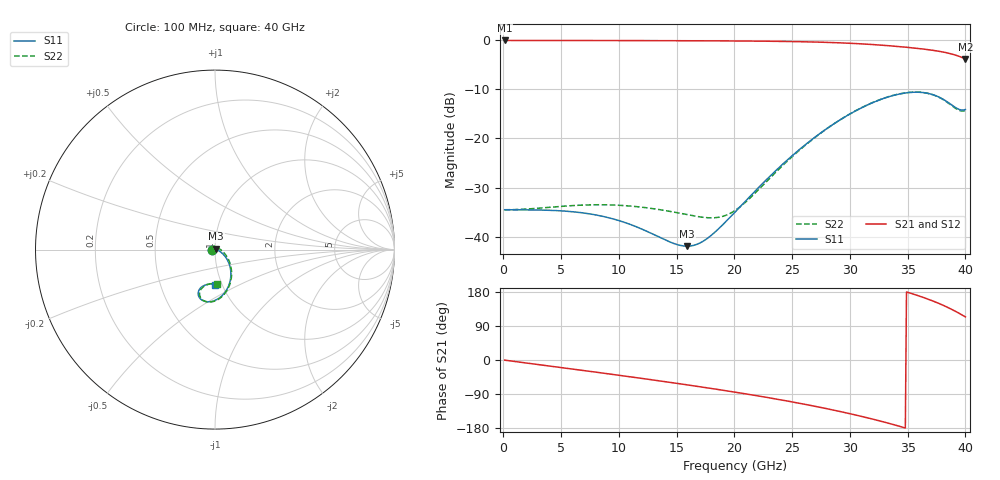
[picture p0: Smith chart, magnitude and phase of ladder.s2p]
! A_s4_d300_ap1000: via ladder as kisi uses it (kisi_si::via_pbm, graded grid, junction model), ports at the via
# Hz S RI R 50
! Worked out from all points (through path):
!   400 points, 100 MHz to 40 GHz, reference 50 ohm
!   highest |S21| = -0.17 dB at 100 MHz (marker M1); lowest = -3.9 dB at 40 GHz (marker M2)
!   group delay of S21, straight-line fit = 15.3 ps
!   lowest |S11| = -41.8 dB at 15.9 GHz (marker M3), VSWR 1.02, Z = 50.6 + j0.515 ohm
!   |S11| at or under -10 dB: start of sweep to end of sweep
!   |S22| runs from -36.1 to -10.6 dB; largest |S21 - S12| = 0
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1e8  -0.019 0.000313  0.981 -0.0068  0.981 -0.0068  -0.019 0.000309
3.4e9  -0.0162 0.00972  0.9535 -0.2293  0.9535 -0.2293  -0.0173 0.00983
6.8e9  -0.00932 0.0151  0.8718 -0.4474  0.8718 -0.4474  -0.0131 0.0167
1.01e10  -0.00217 0.0145  0.7423 -0.6378  0.7423 -0.6378  -0.00842 0.0193
1.34e10  0.00308 0.00969  0.5659 -0.7962  0.5659 -0.7962  -0.00397 0.0188
1.49e10  0.00499 0.00694  0.4713 -0.8544  0.4713 -0.8544  -0.00159 0.0178
1.59e10  0.00636 0.00508  0.4036 -0.8875  0.4036 -0.8875  0.000393 0.017
1.67e10  0.00765 0.00359  0.3468 -0.9103  0.3468 -0.9103  0.00233 0.0161
1.76e10  0.00947 0.00189  0.2804 -0.9319  0.2804 -0.9319  0.005 0.015
1.89e10  0.0131 -0.000799  0.1801 -0.9547  0.1801 -0.9547  0.01 0.0127
2.01e10  0.0178 -0.00386  0.0833 -0.9662  0.0833 -0.9662  0.0163 0.00954
2.35e10  0.0412 -0.0213  -0.2062 -0.9395  -0.2062 -0.9395  0.0433 -0.0106
2.67e10  0.0727 -0.0648  -0.4807 -0.8166  -0.4807 -0.8166  0.0766 -0.0589
2.85e10  0.0862 -0.1077  -0.6213 -0.6977  -0.6213 -0.6977  0.0901 -0.1042
3.04e10  0.086 -0.1669  -0.7441 -0.5309  -0.7441 -0.5309  0.0898 -0.1654
3.2e10  0.0666 -0.2213  -0.8157 -0.3597  -0.8157 -0.3597  0.0706 -0.2209
3.34e10  0.0322 -0.2631  -0.8461 -0.1904  -0.8461 -0.1904  0.0369 -0.2634
3.53e10  -0.0343 -0.2908  -0.826 0.0605  -0.826 0.0605  -0.028 -0.2921
3.7e10  -0.0865 -0.2682  -0.7275 0.2953  -0.7275 0.2953  -0.079 -0.2699
3.85e10  -0.0829 -0.2163  -0.5462 0.4856  -0.5462 0.4856  -0.0745 -0.2166
3.94e10  -0.0411 -0.1938  -0.3832 0.5633  -0.3832 0.5633  -0.0312 -0.1915
4e10  0.00101 -0.1964  -0.2563 0.5837  -0.2563 0.5837  0.0131 -0.1916
